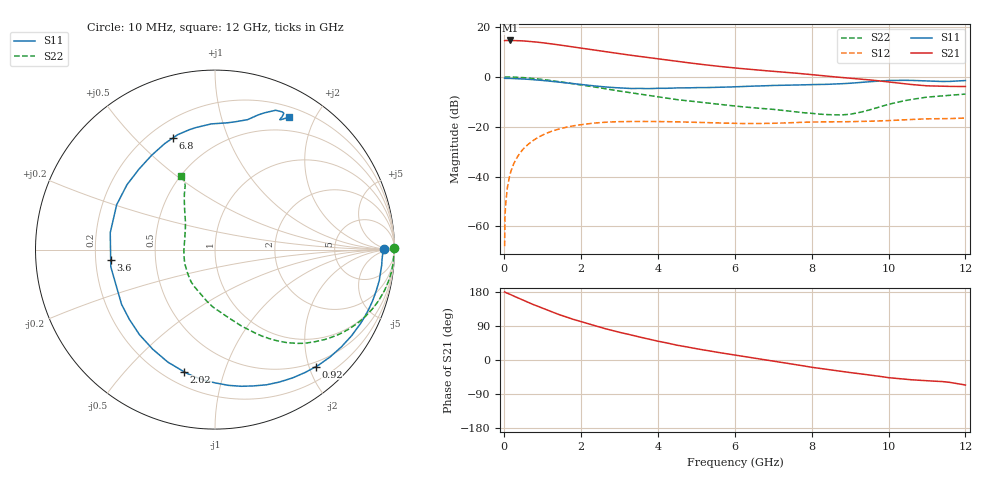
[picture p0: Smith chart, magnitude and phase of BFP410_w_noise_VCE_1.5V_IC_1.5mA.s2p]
! Infineon Technologies  Discrete & RF Semiconductors
! BFP410
! VCE =  1.5 V,  IC =  1.5 mA
! Common Emitter S-Parameters:  Nov 2015
# GHz  S  MA  R  50
!  f  S11  S21  S12  S22
! GHz  MAG  ANG  MAG  ANG  MAG  ANG  MAG  ANG
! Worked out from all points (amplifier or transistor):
!   243 points, 10 MHz to 12 GHz, reference 50 ohm
!   highest |S21| = 14.6 dB at 150 MHz (marker M1)
!   |S21| within 3 dB of that: start of sweep to 1.967 GHz
!   unconditionally stable (mu >= 1): 4.317 GHz to end of sweep
!   at 240 MHz: K = 0.03, MSG = 24.9 dB, |S12| = -35.1 dB
!   at 1.84 GHz: K = 0.34, MSG = 15.7 dB, |S12| = -19.5 dB
!   at 12 GHz: K = 1.20, MAG = 3.6 dB, |S12| = -16.5 dB
!   lowest NFmin = 0.80 dB at 900 MHz
!   S11 on the Smith chart (normalised r, x): 10 MHz: 34, +2; 920 MHz: 0.42, -2.11; 2.02 GHz: 0.28, -0.74; 3.6 GHz: 0.26, -0.05; 6.8 GHz: 0.29, +0.65; 12 GHz: 0.32, +1.66
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0.01  0.943 0.2  5.34 179.5  0.0004 137.8  0.9997 0.5
0.02  0.9356 -0.9  5.378 179.2  0.0016 82.9  0.9945 -0.1
0.04  0.9334 -2.0  5.366 177.9  0.0029 87.3  0.9962 -0.8
0.085  0.9325 -4.5  5.379 176.1  0.0062 86.8  0.9965 -2.4
0.15  0.9312 -8.0  5.392 173.2  0.0109 85.6  0.9955 -4.4
0.5  0.9096 -26.9  5.281 157.5  0.036 75.0  0.967 -14.6
0.92  0.8606 -49.3  4.931 139.5  0.0635 62.1  0.9024 -26.1
1.2  0.8204 -64.1  4.643 128.4  0.0793 54.1  0.8487 -33.0
1.4  0.789 -74.3  4.41 120.8  0.0887 48.4  0.8079 -37.5
1.7  0.7457 -89.0  4.096 110.5  0.1008 40.9  0.7498 -43.4
2.02  0.7026 -104.1  3.764 100.5  0.1108 33.6  0.6901 -49.1
2.4  0.6543 -122.1  3.421 89.1  0.1197 25.5  0.6199 -55.3
2.8  0.6157 -140.7  3.084 78.1  0.1249 17.9  0.5505 -61.3
3.6  0.5841 -174.3  2.533 58.8  0.1276 6.0  0.4418 -71.8
4.1  0.59 167.7  2.258 47.7  0.127 0.4  0.3873 -78.7
5  0.6092 143.6  1.837 29.6  0.1222 -7.4  0.3167 -92.9
6.1  0.6361 122.1  1.488 11.4  0.1159 -11.7  0.2556 -109.5
6.8  0.6643 110.8  1.333 0.2  0.1165 -12.6  0.229 -123.0
8.2  0.7036 88.1  1.074 -22.0  0.1247 -17.3  0.1789 -163.1
9  0.7458 76.0  0.941 -33.1  0.1263 -20.0  0.1782 161.2
10.2  0.8501 65.2  0.76 -48.4  0.1351 -22.8  0.306 123.8
12  0.8454 60.9  0.641 -66.0  0.1491 -33.1  0.4522 115.1
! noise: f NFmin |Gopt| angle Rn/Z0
0.45  0.83  0.58  8  0.37
0.9  0.8  0.56  23  0.31
1.8  1.07  0.45  56  0.26
2.4  1.14  0.41  67  0.25
5.5  2.37  0.4  -150  0.18
10  4.33  0.72  -58  2.98
